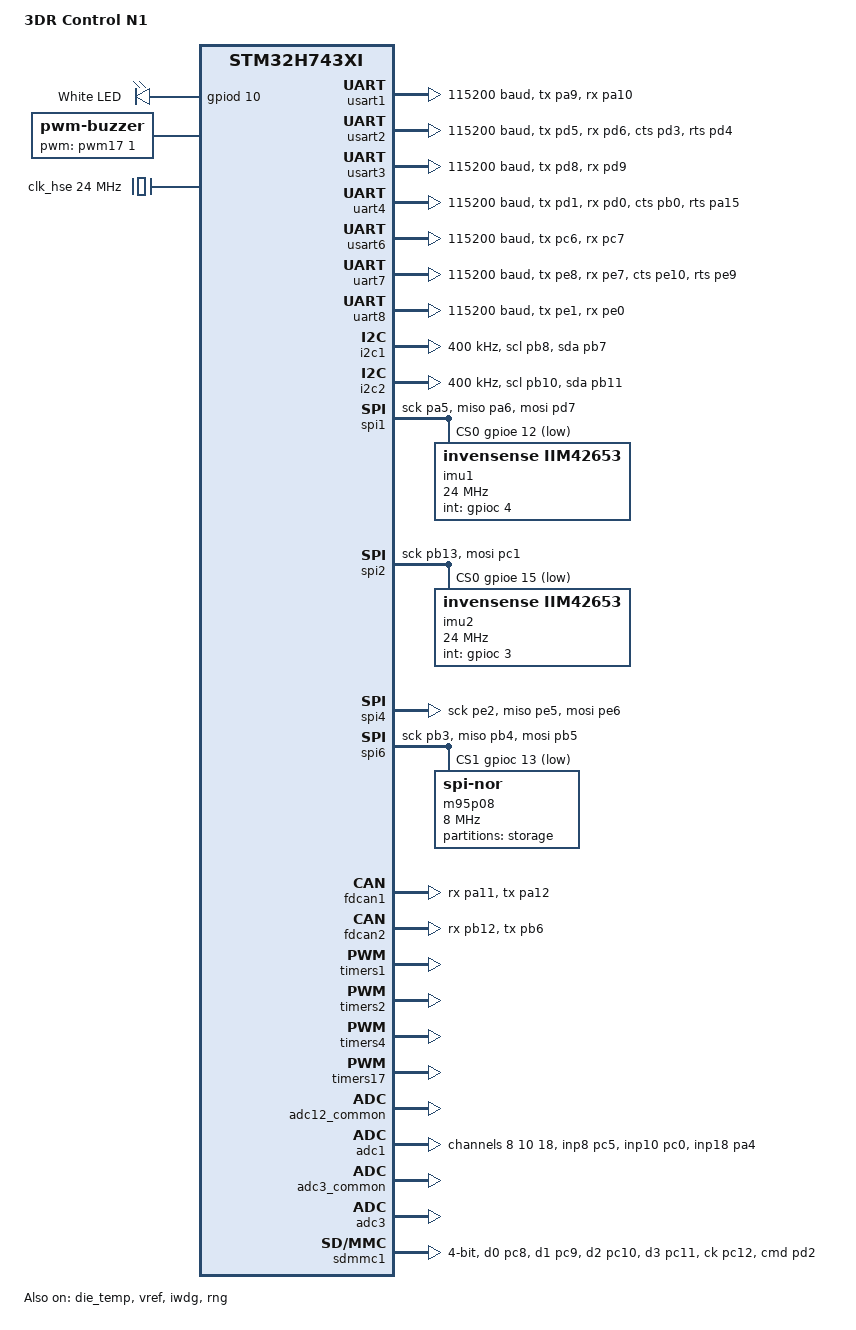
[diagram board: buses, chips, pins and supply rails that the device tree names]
/*
 * SPDX-FileCopyrightText: Copyright The Zephyr Project Contributors
 * SPDX-License-Identifier: Apache-2.0
 */

#include <st/h7/stm32h743Xi.dtsi>
#include <st/h7/stm32h743v(g-i)hx-pinctrl.dtsi>
#include <zephyr/dt-bindings/sensor/iim42653.h>
#include "control_n1_connector.dtsi"

/ {
	model = "3DR Control N1";

	chosen {
		zephyr,console = &uart7;
		zephyr,shell-uart = &uart7;
		zephyr,sram = &sram0;
		zephyr,flash = &flash0;
		zephyr,dtcm = &dtcm;
		zephyr,itcm = &itcm;
		zephyr,canbus = &fdcan1;
	};

	leds {
		compatible = "gpio-leds";

		white_led: led_0 {
			gpios = <&gpiod 10 GPIO_ACTIVE_HIGH>;
			label = "White LED";
		};
	};

	buzzer: buzzer {
		compatible = "pwm-buzzer";
		pwms = <&pwm17 1 PWM_HZ(2700) PWM_POLARITY_NORMAL>;
	};

	aliases {
		led0 = &white_led;
		accel0 = &imu1;
		accel1 = &imu2;
		buzzer0 = &buzzer;
		die-temp0 = &die_temp;
		volt-sensor0 = &vref;
		sdhc0 = &sdmmc1;
		watchdog0 = &iwdg;
	};
};

&clk_hsi48 {
	status = "okay";
};

&clk_hse {
	hse-bypass;
	clock-frequency = <DT_FREQ_M(24)>;
	status = "okay";
};

&pll {
	div-m = <3>;
	mul-n = <120>;
	div-p = <2>;
	div-q = <5>;
	div-r = <2>;
	clocks = <&clk_hse>;
	status = "okay";
};

/* 80 MHz FDCAN kernel clock */
&pll2 {
	div-m = <3>;
	mul-n = <60>;
	div-p = <2>;
	div-q = <6>;
	div-r = <10>;
	clocks = <&clk_hse>;
	status = "okay";
};

&rcc {
	clocks = <&pll>;
	clock-frequency = <DT_FREQ_M(480)>;
	d1cpre = <1>;
	hpre = <2>;
	d1ppre = <2>;
	d2ppre1 = <2>;
	d2ppre2 = <2>;
	d3ppre = <2>;
};

&pwr {
	power-supply = "ldo";
};

&usart1 {
	clocks = <&rcc STM32_CLOCK(APB2, 4)>,
		 <&rcc STM32_SRC_PLL2_Q USART16_SEL(1)>;
	pinctrl-0 = <&usart1_tx_pa9 &usart1_rx_pa10>;
	pinctrl-names = "default";
	current-speed = <115200>;
	status = "okay";
};

&usart2 {
	clocks = <&rcc STM32_CLOCK(APB1, 17)>,
		 <&rcc STM32_SRC_PLL2_Q USART2345678_SEL(1)>;
	pinctrl-0 = <&usart2_tx_pd5 &usart2_rx_pd6 &usart2_cts_pd3 &usart2_rts_pd4>;
	pinctrl-names = "default";
	current-speed = <115200>;
	status = "okay";
};

&usart3 {
	clocks = <&rcc STM32_CLOCK(APB1, 18)>,
		 <&rcc STM32_SRC_PLL2_Q USART2345678_SEL(1)>;
	pinctrl-0 = <&usart3_tx_pd8 &usart3_rx_pd9>;
	pinctrl-names = "default";
	current-speed = <115200>;
	status = "okay";
};

&uart4 {
	clocks = <&rcc STM32_CLOCK(APB1, 19)>,
		 <&rcc STM32_SRC_PLL2_Q USART2345678_SEL(1)>;
	pinctrl-0 = <&uart4_tx_pd1 &uart4_rx_pd0 &uart4_cts_pb0 &uart4_rts_pa15>;
	pinctrl-names = "default";
	current-speed = <115200>;
	status = "okay";
};

&usart6 {
	clocks = <&rcc STM32_CLOCK(APB2, 5)>,
		 <&rcc STM32_SRC_PLL2_Q USART16_SEL(1)>;
	pinctrl-0 = <&usart6_tx_pc6 &usart6_rx_pc7>;
	pinctrl-names = "default";
	current-speed = <115200>;
	status = "okay";
};

&uart7 {
	clocks = <&rcc STM32_CLOCK(APB1, 30)>,
		 <&rcc STM32_SRC_PLL2_Q USART2345678_SEL(1)>;
	pinctrl-0 = <&uart7_tx_pe8 &uart7_rx_pe7 &uart7_cts_pe10 &uart7_rts_pe9>;
	pinctrl-names = "default";
	current-speed = <115200>;
	status = "okay";
};

&uart8 {
	clocks = <&rcc STM32_CLOCK(APB1, 31)>,
		 <&rcc STM32_SRC_PLL2_Q USART2345678_SEL(1)>;
	pinctrl-0 = <&uart8_tx_pe1 &uart8_rx_pe0>;
	pinctrl-names = "default";
	current-speed = <115200>;
	status = "okay";
};

&i2c1 {
	pinctrl-0 = <&i2c1_scl_pb8 &i2c1_sda_pb7>;
	pinctrl-names = "default";
	clock-frequency = <I2C_BITRATE_FAST>;
	status = "okay";
};

&i2c2 {
	pinctrl-0 = <&i2c2_scl_pb10 &i2c2_sda_pb11>;
	pinctrl-names = "default";
	clock-frequency = <I2C_BITRATE_FAST>;
	status = "okay";
};

&spi1 {
	pinctrl-0 = <&spi1_sck_pa5 &spi1_miso_pa6 &spi1_mosi_pd7>;
	pinctrl-names = "default";
	cs-gpios = <&gpioe 12 GPIO_ACTIVE_LOW>;
	st,gpio-control;
	status = "okay";

	imu1: iim42653@0 {
		compatible = "invensense,iim42653", "invensense,icm4268x";
		reg = <0>;
		int-gpios = <&gpioc 4 GPIO_ACTIVE_HIGH>;
		spi-max-frequency = <DT_FREQ_M(24)>;
		accel-pwr-mode = <IIM42653_DT_ACCEL_LN>;
		accel-odr = <IIM42653_DT_ACCEL_ODR_1000>;
		accel-fs = <IIM42653_DT_ACCEL_FS_32>;
		gyro-pwr-mode = <IIM42653_DT_GYRO_LN>;
		gyro-odr = <IIM42653_DT_GYRO_ODR_1000>;
		gyro-fs = <IIM42653_DT_GYRO_FS_4000>;
	};
};

&spi2 {
	pinctrl-0 = <&spi2_sck_pb13 &spi2_miso_pc2_c &spi2_mosi_pc1>;
	pinctrl-names = "default";
	cs-gpios = <&gpioe 15 GPIO_ACTIVE_LOW>;
	st,gpio-control;
	status = "okay";

	imu2: iim42653@0 {
		compatible = "invensense,iim42653", "invensense,icm4268x";
		reg = <0>;
		int-gpios = <&gpioc 3 GPIO_ACTIVE_HIGH>;
		spi-max-frequency = <DT_FREQ_M(24)>;
		accel-pwr-mode = <IIM42653_DT_ACCEL_LN>;
		accel-odr = <IIM42653_DT_ACCEL_ODR_1000>;
		accel-fs = <IIM42653_DT_ACCEL_FS_32>;
		gyro-pwr-mode = <IIM42653_DT_GYRO_LN>;
		gyro-odr = <IIM42653_DT_GYRO_ODR_1000>;
		gyro-fs = <IIM42653_DT_GYRO_FS_4000>;
	};
};

&spi4 {
	pinctrl-0 = <&spi4_sck_pe2 &spi4_miso_pe5 &spi4_mosi_pe6>;
	pinctrl-names = "default";
	cs-gpios = <&gpiob 2 GPIO_ACTIVE_LOW>;
	st,gpio-control;
	status = "okay";
};

&spi6 {
	pinctrl-0 = <&spi6_sck_pb3 &spi6_miso_pb4 &spi6_mosi_pb5>;
	pinctrl-names = "default";
	cs-gpios = <&gpioe 3 GPIO_ACTIVE_LOW>, <&gpioc 13 GPIO_ACTIVE_LOW>;
	st,gpio-control;
	status = "okay";

	/* M95P08 page EEPROM, which has the SPI NOR command set and SFDP tables */
	m95p08: flash@1 {
		compatible = "jedec,spi-nor";
		reg = <1>;
		spi-max-frequency = <DT_FREQ_M(8)>;
		size = <DT_SIZE_M(8)>;
		jedec-id = [20 00 14];
		sfdp-bfp = [f5 20 c1 ff ff ff 7f 00 00 00 08 6b 08 3b 00 00
			    ee ff ff ff ff ff 00 00 ff ff 00 00 09 db 0c 20
			    10 d8 00 00 04 08 0c 00 90 f3 0e 00 00 00 00 80
			    00 00 00 00 04 bd d5 5c 00 00 00 00 11 10 00 00
			    00 00 00 00 00 00 00 00 00 00 00 00 ff ff ff ff];

		partitions {
			compatible = "fixed-partitions";
			#address-cells = <1>;
			#size-cells = <1>;

			storage_partition: partition@0 {
				reg = <0x00000000 DT_SIZE_M(1)>;
				label = "storage";
			};
		};
	};
};

&fdcan1 {
	pinctrl-0 = <&fdcan1_rx_pa11 &fdcan1_tx_pa12>;
	pinctrl-names = "default";
	clocks = <&rcc STM32_CLOCK(APB1_2, 8)>,
		 <&rcc STM32_SRC_PLL2_Q FDCAN_SEL(2)>;
	status = "okay";

	can-transceiver {
		max-bitrate = <8000000>;
	};
};

&fdcan2 {
	pinctrl-0 = <&fdcan2_rx_pb12 &fdcan2_tx_pb6>;
	pinctrl-names = "default";
	clocks = <&rcc STM32_CLOCK(APB1_2, 8)>,
		 <&rcc STM32_SRC_PLL2_Q FDCAN_SEL(2)>;
	status = "okay";

	can-transceiver {
		max-bitrate = <8000000>;
	};
};

/* Timers run at 240 MHz: a prescaler of 239 gives 1 us PWM resolution. */
&timers1 {
	st,prescaler = <239>;
	status = "okay";

	pwm1: pwm {
		pinctrl-0 = <&tim1_ch1_pa8 &tim1_ch2_pe11 &tim1_ch3_pe13 &tim1_ch4_pe14>;
		pinctrl-names = "default";
		status = "okay";
	};
};

&timers2 {
	st,prescaler = <239>;
	status = "okay";

	pwm2: pwm {
		pinctrl-0 = <&tim2_ch1_pa0 &tim2_ch2_pa1 &tim2_ch3_pa2 &tim2_ch4_pa3>;
		pinctrl-names = "default";
		status = "okay";
	};
};

&timers4 {
	st,prescaler = <239>;
	status = "okay";

	pwm4: pwm {
		pinctrl-0 = <&tim4_ch1_pd12 &tim4_ch2_pd13 &tim4_ch3_pd14 &tim4_ch4_pd15>;
		pinctrl-names = "default";
		status = "okay";
	};
};

&timers17 {
	st,prescaler = <239>;
	status = "okay";

	pwm17: pwm {
		pinctrl-0 = <&tim17_ch1_pb9>;
		pinctrl-names = "default";
		status = "okay";
	};
};

&adc12_common {
	st,adc-clock-source = "SYNC";
	st,adc-prescaler = <4>;
	status = "okay";
};

&adc1 {
	pinctrl-0 = <&adc1_inp8_pc5 &adc1_inp10_pc0 &adc1_inp18_pa4>;
	pinctrl-names = "default";
	#address-cells = <1>;
	#size-cells = <0>;
	status = "okay";

	/* 5 V supply sense, divided by 2 */
	channel@8 {
		reg = <8>;
		zephyr,gain = "ADC_GAIN_1";
		zephyr,reference = "ADC_REF_INTERNAL";
		zephyr,acquisition-time = <ADC_ACQ_TIME(ADC_ACQ_TIME_TICKS, 388)>;
		zephyr,resolution = <16>;
	};

	channel@a {
		reg = <10>;
		zephyr,gain = "ADC_GAIN_1";
		zephyr,reference = "ADC_REF_INTERNAL";
		zephyr,acquisition-time = <ADC_ACQ_TIME(ADC_ACQ_TIME_TICKS, 388)>;
		zephyr,resolution = <16>;
	};

	channel@12 {
		reg = <18>;
		zephyr,gain = "ADC_GAIN_1";
		zephyr,reference = "ADC_REF_INTERNAL";
		zephyr,acquisition-time = <ADC_ACQ_TIME(ADC_ACQ_TIME_TICKS, 388)>;
		zephyr,resolution = <16>;
	};
};

&adc3_common {
	st,adc-clock-source = "SYNC";
	st,adc-prescaler = <4>;
	status = "okay";
};

&adc3 {
	status = "okay";
};

&die_temp {
	status = "okay";
};

&vref {
	status = "okay";
};

&sdmmc1 {
	pinctrl-0 = <&sdmmc1_d0_pc8 &sdmmc1_d1_pc9
		     &sdmmc1_d2_pc10 &sdmmc1_d3_pc11
		     &sdmmc1_ck_pc12 &sdmmc1_cmd_pd2>;
	pinctrl-names = "default";
	/* The SDMMC driver needs a 48 MHz kernel clock */
	clocks = <&rcc STM32_CLOCK(AHB3, 16)>,
		 <&rcc STM32_SRC_PLL2_R SDMMC_SEL(1)>;
	/* SDMMC_CK = 48 MHz / (2 * 1): 24 MHz, within the default speed of the card */
	clk-div = <1>;
	bus-width = <4>;
	disk-name = "SD";
	status = "okay";
};

&iwdg {
	status = "okay";
};

&rng {
	status = "okay";
};
